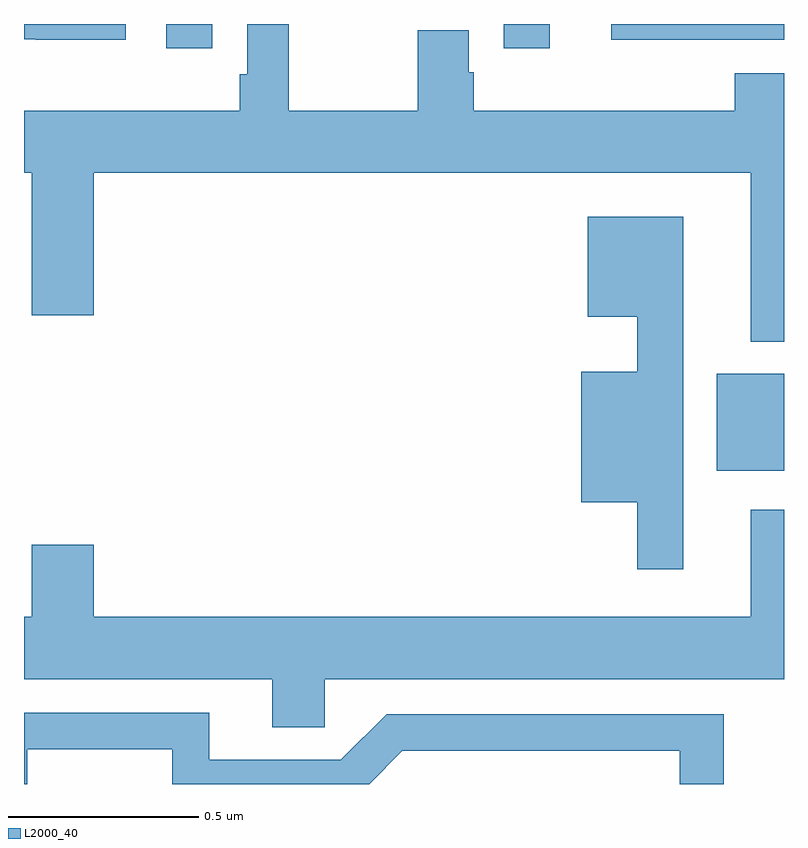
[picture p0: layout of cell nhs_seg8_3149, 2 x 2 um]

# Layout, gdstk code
import gdstk
lib = gdstk.Library(unit=1e-6, precision=1e-09)
def R(c, l, rs):  # rectangles x0, y0, x1, y1
    for r in rs: c.add(gdstk.rectangle(r[:2], r[2:], *l))
def P(c, l, *ps):  # polygons
    for p in ps: c.add(gdstk.Polygon(p, *l))
L2000_40 = (2000, 40)

nhs_seg8_3149 = lib.new_cell('nhs_seg8_3149')
R(nhs_seg8_3149, L2000_40, [(154.823,1107.725,155,1107.979), (153.374,1108.836,153.496,1108.9), (154.262,1108.836,154.384,1108.9), (154.545,1108.859,155,1108.9)])
P(nhs_seg8_3149, L2000_40, [(155,1108.771),(154.871,1108.771),(154.871,1108.672),(154.184,1108.672),(154.184,1108.773),(154.171,1108.773),(154.171,1108.884),(154.036,1108.884),(154.036,1108.672),(153.697,1108.672),(153.697,1108.9),(153.588,1108.9),(153.588,1108.768),(153.568,1108.768),(153.568,1108.672),(153,1108.672),(153,1108.508),(153.02,1108.508),(153.02,1108.134),(153.184,1108.134),(153.184,1108.508),(154.913,1108.508),(154.913,1108.064),(155,1108.064)],
  [(153.268,1108.9),(153,1108.9),(153,1108.86),(153.031,1108.86),(153.031,1108.859),(153.268,1108.859)],
  [(154.735,1108.393),(154.484,1108.393),(154.484,1108.13),(154.614,1108.13),(154.614,1107.985),(154.466,1107.985),(154.466,1107.641),(154.614,1107.641),(154.614,1107.465),(154.735,1107.465)],
  [(153.792,1107.176),(155,1107.176),(155,1107.622),(154.913,1107.622),(154.913,1107.34),(153.184,1107.34),(153.184,1107.529),(153.02,1107.529),(153.02,1107.34),(153,1107.34),(153,1107.176),(153.653,1107.176),(153.653,1107.049),(153.792,1107.049)],
  [(153.009,1106.991),(153.39,1106.991),(153.39,1106.9),(153.908,1106.9),(153.996,1106.988),(154.725,1106.988),(154.725,1106.9),(154.841,1106.9),(154.841,1107.084),(153.954,1107.084),(153.834,1106.964),(153.487,1106.964),(153.487,1107.087),(153,1107.087),(153,1106.9),(153.009,1106.9)])

lib.write_gds('nhs_seg8_3149.gds')
